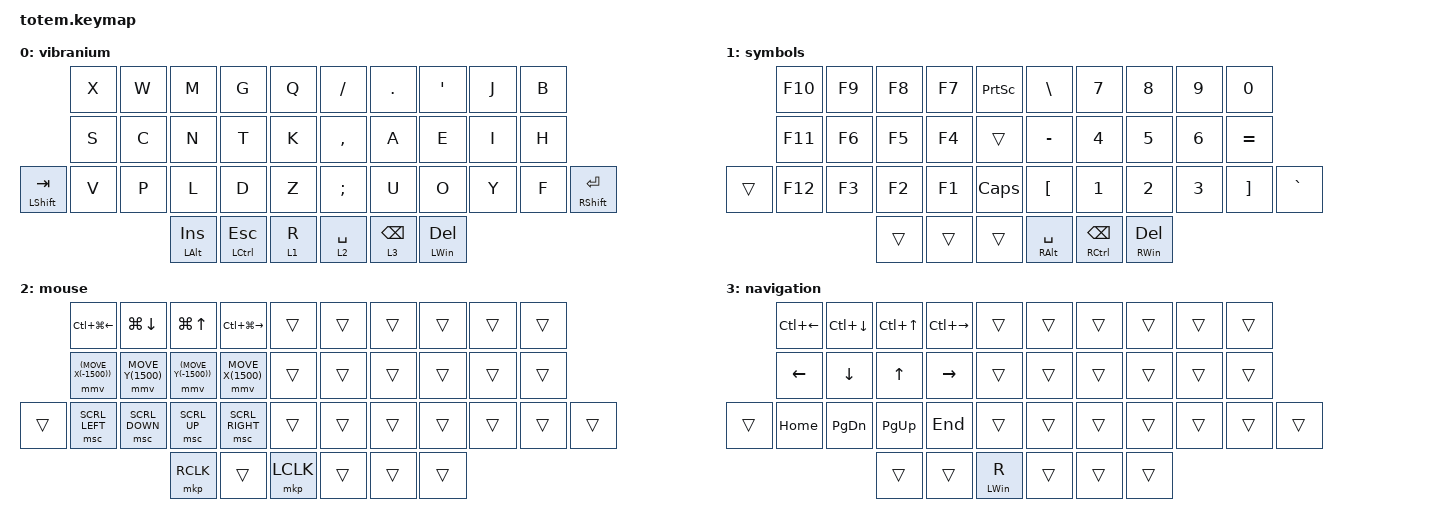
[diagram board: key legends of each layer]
#include <behaviors.dtsi>
#include <dt-bindings/zmk/keys.h>
#include <dt-bindings/zmk/pointing.h>

/ {
    keymap {
        compatible = "zmk,keymap";

        vibranium {
            bindings = <
                &kp X  &kp W  &kp M                &kp G                    &kp Q      &kp SLASH      &kp DOT          &kp APOSTROPHE       &kp J  &kp B
                &kp S  &kp C  &kp N                &kp T                    &kp K      &kp COMMA      &kp A            &kp E                &kp I  &kp H
&mt LSHIFT TAB  &kp V  &kp P  &kp L                &kp D                    &kp Z      &kp SEMICOLON  &kp U            &kp O                &kp Y  &kp F  &mt RIGHT_SHIFT ENTER
                              &mt LEFT_ALT INSERT  &mt LEFT_CONTROL ESCAPE  &lt 1 R    &lt 2 SPACE    &lt 3 BACKSPACE  &mt LEFT_WIN DELETE
            >;
        };

        symbols {
            bindings = <
        &kp F10  &kp F9  &kp F8  &kp F7  &kp PRINTSCREEN    &kp BSLH             &kp N7                       &kp N8                &kp N9  &kp N0
        &kp F11  &kp F6  &kp F5  &kp F4  &trans             &kp MINUS            &kp N4                       &kp N5                &kp N6  &kp EQUAL
&trans  &kp F12  &kp F3  &kp F2  &kp F1  &kp CAPSLOCK       &kp LBKT             &kp N1                       &kp N2                &kp N3  &kp RBKT   &kp GRAVE
                         &trans  &trans  &trans             &mt RIGHT_ALT SPACE  &mt RIGHT_CONTROL BACKSPACE  &mt RIGHT_WIN DELETE
            >;
        };

        mouse {
            bindings = <
        &kp LC(LG(LEFT_ARROW))  &kp LG(DOWN_ARROW)  &kp LG(UP_ARROW)      &kp LC(LG(RIGHT_ARROW))  &trans       &trans  &trans  &trans  &trans  &trans
        &mmv (MOVE_X(-1500))    &mmv MOVE_Y(1500)   &mmv (MOVE_Y(-1500))  &mmv MOVE_X(1500)        &trans       &trans  &trans  &trans  &trans  &trans
&trans  &msc SCRL_LEFT          &msc SCRL_DOWN      &msc SCRL_UP          &msc SCRL_RIGHT          &trans       &trans  &trans  &trans  &trans  &trans  &trans
                                                    &mkp RCLK             &trans                   &mkp LCLK    &trans  &trans  &trans
            >;
        };

        navigation {
            bindings = <
        &kp LC(LEFT_ARROW)  &kp LC(DOWN_ARROW)  &kp LC(UP_ARROW)  &kp LC(RIGHT_ARROW)  &trans            &trans  &trans  &trans  &trans  &trans
        &kp LEFT_ARROW      &kp DOWN_ARROW      &kp UP_ARROW      &kp RIGHT_ARROW      &trans            &trans  &trans  &trans  &trans  &trans
&trans  &kp HOME            &kp PAGE_DOWN       &kp PAGE_UP       &kp END              &trans            &trans  &trans  &trans  &trans  &trans  &trans
                                                &trans            &trans               &mt LEFT_WIN R    &trans  &trans  &trans
            >;
        };
    };
};
